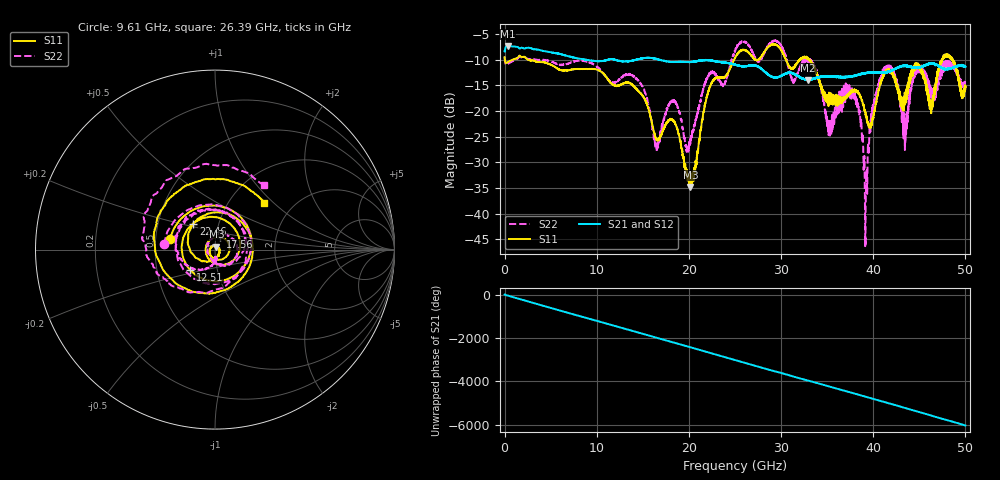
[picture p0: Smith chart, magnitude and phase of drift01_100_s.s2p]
!Created with skrf (http://scikit-rf.org).
# Hz S RI R 50.0
!freq ReS11 ImS11 ReS21 ImS21 ReS12 ImS12 ReS22 ImS22
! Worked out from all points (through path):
!   10001 points, 300 kHz to 50 GHz, reference 50 ohm
!   highest |S21| = -7.33 dB at 325.3 MHz (marker M1); lowest = -13.9 dB at 32.94 GHz (marker M2)
!   group delay of S21, straight-line fit = 335 ps
!   lowest |S11| = -34.8 dB at 20.17 GHz (marker M3), VSWR 1.04, Z = 50.8 + j1.66 ohm
!   |S11| at or under -10 dB: 2.555 GHz to 24.9 GHz (22.35 GHz wide, 163 % of centre); 30.52 GHz to 32.01 GHz (1.492 GHz wide, 4.77 % of centre); 33.07 GHz to 47.46 GHz (14.38 GHz wide, 35.7 % of centre) (the widest 3 of 16)
!   |S22| runs from -46.3 to -6.3 dB; largest |S21 - S12| = 0.011
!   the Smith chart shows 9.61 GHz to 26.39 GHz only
!   S11 on the Smith chart (normalised r, x): 9.61 GHz: 0.60, +0.07; 12.51 GHz: 0.74, -0.17; 17.56 GHz: 1.05, +0.15; 22.46 GHz: 0.76, +0.22; 26.39 GHz: 1.44, +0.87
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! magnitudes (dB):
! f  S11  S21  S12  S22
! 300 kHz  -9.5  -8.4  -8.5  -9.5
! 325.3 MHz  -10.5  -7.3  -7.3  -10.9
! 8.335 GHz  -11.8  -9.8  -9.9  -10.2
! 9.61 GHz  -11.8  -10.2  -10.2  -10.8
! 12.51 GHz  -15.0  -10.3  -10.2  -13.7
! 16.67 GHz  -25.7  -10.0  -10.0  -27.1
! 17.56 GHz  -22.3  -10.3  -10.3  -19.6
! 20.17 GHz  -34.8  -10.5  -10.5  -26.1
! 22.46 GHz  -14.6  -10.2  -10.2  -12.6
! 25 GHz  -9.6  -11.0  -11.0  -8.3
! 26.39 GHz  -8.5  -11.2  -11.2  -6.9
! 32.94 GHz  -9.9  -13.9  -13.9  -10.2
! 33.34 GHz  -10.7  -13.8  -13.8  -10.6
! 35.23 GHz  -17.2  -13.3  -13.3  -22.6
! 38 GHz  -15.9  -13.1  -13.1  -17.3
! 39.17 GHz  -20.6  -12.6  -12.6  -41.4
! 40.14 GHz  -20.0  -12.5  -12.5  -17.9
! 41.67 GHz  -12.0  -12.3  -12.4  -11.7
! 43.45 GHz  -17.3  -11.3  -11.3  -26.0
! 44.87 GHz  -11.3  -11.6  -11.4  -11.6
! 46.25 GHz  -19.4  -10.8  -10.8  -15.4
! 50 GHz  -15.7  -11.4  -11.3  -14.9
